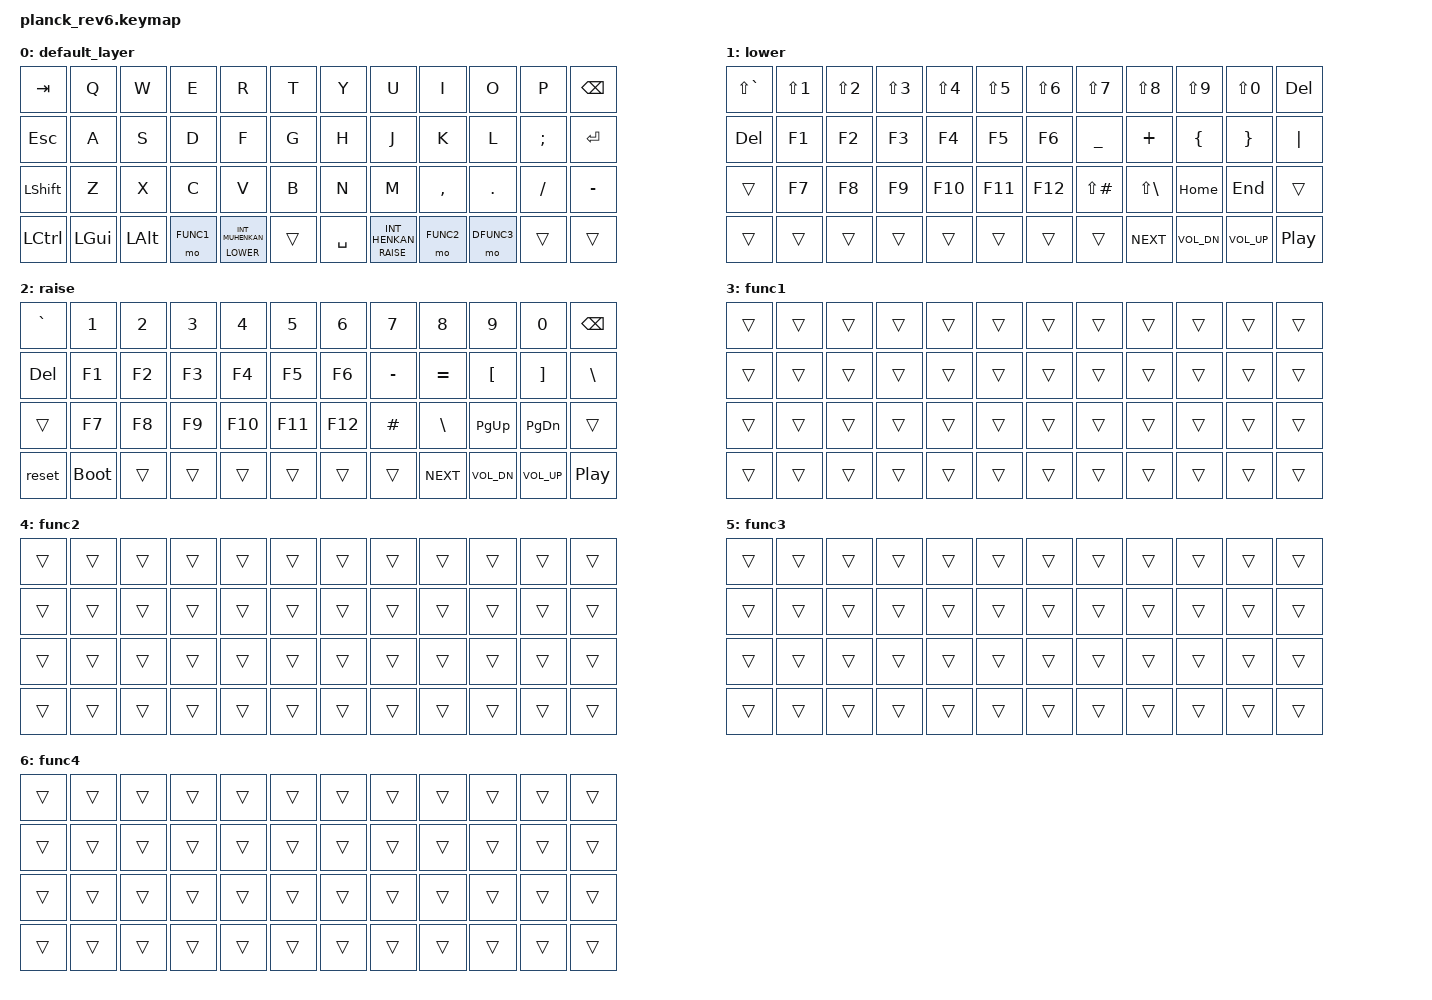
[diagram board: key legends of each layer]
/*
 * Copyright (c) 2020 The ZMK Contributors
 *
 * SPDX-License-Identifier: MIT
 */

#include <behaviors.dtsi>
#include <dt-bindings/zmk/keys.h>

#define LOWER 1
#define RAISE 2
#define FUNC1 3
#define FUNC2 4
#define FUNC3 5
#define FUNC4 6

/ {
	keymap {
		compatible = "zmk,keymap";

		default_layer {
			// -----------------------------------------------------------------------------------------
			// |  TAB  |  Q   |  W   |  E   |  R   |  T   |   Y   |  U    |  I   |  O   |   P   | BSPC  |
			// |  ESC  |  A   |  S   |  D   |  F   |  G   |   H   |  J    |  K   |  L   |   ;   |  '    |
			// | SHIFT |  Z   |  X   |  C   |  V   |  B   |   N   |  M    |  ,   |  .   |   /   |  RET  |
			// |       | LCTL | LALT | LGUI | LOWR |     SPACE    |  RAIS | LARW | DARW | UARW  |  RARW |
			bindings = <
				&kp TAB    &kp Q    &kp W    &kp E      &kp R                    &kp T   &kp Y     &kp U                  &kp I      &kp O     &kp P     &kp BSPC
				&kp ESC    &kp A    &kp S    &kp D      &kp F                    &kp G   &kp H     &kp J                  &kp K      &kp L     &kp SEMI  &kp RET
				&kp LSHFT  &kp Z    &kp X    &kp C      &kp V                    &kp B   &kp N     &kp M                  &kp COMMA  &kp DOT   &kp SLASH &kp MINUS
				&kp LCTL   &kp LGUI &kp LALT &mo FUNC1  &lt LOWER INT_MUHENKAN   &trans  &kp SPACE &lt RAISE INT_HENKAN   &mo FUNC2  &mo DFUNC3 &trans    &trans
			>;
		};

		lower {
			bindings = <
				&kp LS(GRAVE) &kp LS(N1) &kp LS(N2) &kp LS(N3) &kp LS(N4) &kp LS(N5) &kp LS(N6) &kp LS(N7) &kp LS(N8) &kp LS(N9) &kp LS(N0) &kp DEL
				&kp DEL &kp F1 &kp F2 &kp F3 &kp F4 &kp F5 &kp F6 &kp UNDER &kp PLUS &kp LBRC &kp RBRC &kp PIPE
				&trans &kp F7 &kp F8 &kp F9 &kp F10 &kp F11 &kp F12 &kp LS(HASH) &kp LS(BSLH) &kp HOME &kp END &trans
				&trans &trans &trans &trans &trans &trans &trans &trans &kp C_NEXT &kp C_VOL_DN &kp C_VOL_UP &kp C_PP
			>;
		};

		raise {
			bindings = <
				&kp GRAVE &kp N1 &kp N2 &kp N3 &kp N4 &kp N5 &kp N6 &kp N7 &kp N8 &kp N9 &kp N0 &kp BSPC
				&kp DEL &kp F1 &kp F2 &kp F3 &kp F4 &kp F5 &kp F6 &kp MINUS &kp EQUAL &kp LBKT &kp RBKT &kp BSLH
				&trans &kp F7 &kp F8 &kp F9 &kp F10 &kp F11 &kp F12 &kp HASH &kp BSLH &kp PG_UP &kp PG_DN &trans
				&reset &bootloader &trans &trans &trans &trans &trans &trans &kp C_NEXT &kp C_VOL_DN &kp C_VOL_UP &kp C_PP
			>;
		};

		func1 {
			bindings = <
				&trans    &trans    &trans    &trans    &trans    &trans    &trans    &trans    &trans    &trans    &trans    &trans
				&trans    &trans    &trans    &trans    &trans    &trans    &trans    &trans    &trans    &trans    &trans    &trans
				&trans    &trans    &trans    &trans    &trans    &trans    &trans    &trans    &trans    &trans    &trans    &trans
				&trans    &trans    &trans    &trans    &trans    &trans    &trans    &trans    &trans    &trans    &trans    &trans
			>;
		};

		func2 {
			bindings = <
				&trans    &trans    &trans    &trans    &trans    &trans    &trans    &trans    &trans    &trans    &trans    &trans
				&trans    &trans    &trans    &trans    &trans    &trans    &trans    &trans    &trans    &trans    &trans    &trans
				&trans    &trans    &trans    &trans    &trans    &trans    &trans    &trans    &trans    &trans    &trans    &trans
				&trans    &trans    &trans    &trans    &trans    &trans    &trans    &trans    &trans    &trans    &trans    &trans
			>;
		};

		func3 {
			bindings = <
				&trans    &trans    &trans    &trans    &trans    &trans    &trans    &trans    &trans    &trans    &trans    &trans
				&trans    &trans    &trans    &trans    &trans    &trans    &trans    &trans    &trans    &trans    &trans    &trans
				&trans    &trans    &trans    &trans    &trans    &trans    &trans    &trans    &trans    &trans    &trans    &trans
				&trans    &trans    &trans    &trans    &trans    &trans    &trans    &trans    &trans    &trans    &trans    &trans
			>;
		};

		func4 {
			bindings = <
				&trans    &trans    &trans    &trans    &trans    &trans    &trans    &trans    &trans    &trans    &trans    &trans
				&trans    &trans    &trans    &trans    &trans    &trans    &trans    &trans    &trans    &trans    &trans    &trans
				&trans    &trans    &trans    &trans    &trans    &trans    &trans    &trans    &trans    &trans    &trans    &trans
				&trans    &trans    &trans    &trans    &trans    &trans    &trans    &trans    &trans    &trans    &trans    &trans
			>;
		};
	};
};
